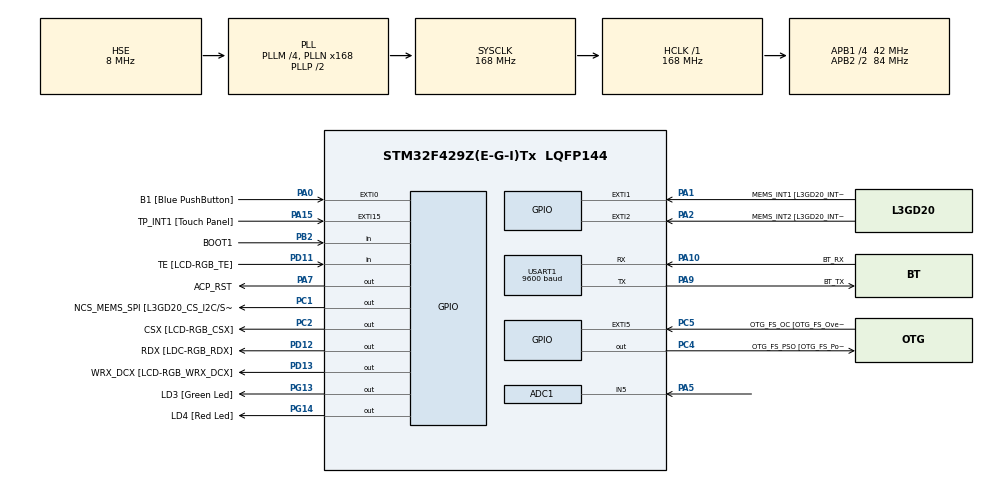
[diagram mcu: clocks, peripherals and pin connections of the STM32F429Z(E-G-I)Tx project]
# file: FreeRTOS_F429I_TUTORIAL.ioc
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ADC1.Channel-0\#ChannelRegularConversion=ADC_CHANNEL_5
ADC1.ClockPrescaler=ADC_CLOCK_SYNC_PCLK_DIV8
ADC1.NbrOfConversionFlag=1
ADC1.Rank-0\#ChannelRegularConversion=1
ADC1.SamplingTime-0\#ChannelRegularConversion=ADC_SAMPLETIME_3CYCLES
ADC1.master=1
FREERTOS.BinarySemaphores01=commTxSemaphore,Dynamic,NULL
FREERTOS.Tasks01=defaultTask,0,128,StartDefaultTask,Default,NULL,Dynamic,NULL,NULL
FREERTOS.configMAX_TASK_NAME_LEN=32
Mcu.Family=STM32F4
Mcu.Name=STM32F429Z(E-G-I)Tx
Mcu.Package=LQFP144
NVIC.ADC_IRQn=true\:5\:0\:false\:false\:true\:true
NVIC.PriorityGroup=NVIC_PRIORITYGROUP_4
NVIC.TIM7_IRQn=true\:0\:0\:false\:false\:true\:false
NVIC.TimeBase=TIM7_IRQn
NVIC.TimeBaseIP=TIM7
NVIC.USART1_IRQn=true\:5\:0\:false\:false\:true\:true
PA0/WKUP.GPIO_Label=B1 [Blue PushButton]
PA0/WKUP.GPIO_ModeDefaultEXTI=GPIO_MODE_EVT_RISING
PA0/WKUP.GPIO_PuPd=GPIO_NOPULL
PA0/WKUP.Signal=GPXTI0
PA1.GPIO_Label=MEMS_INT1 [L3GD20_INT1]
PA1.GPIO_ModeDefaultEXTI=GPIO_MODE_EVT_RISING
PA1.GPIO_PuPd=GPIO_NOPULL
PA1.Signal=GPXTI1
PA10.GPIO_Label=BT_RX
PA10.Mode=Asynchronous
PA10.Signal=USART1_RX
PA11.GPIO_Label=R4
PA11.GPIO_Mode=GPIO_MODE_AF_PP
PA11.GPIO_PuPd=GPIO_NOPULL
PA11.GPIO_Speed=GPIO_SPEED_FREQ_LOW
PA11.Signal=LTDC_R4
PA12.GPIO_Label=R5
PA12.GPIO_Mode=GPIO_MODE_AF_PP
PA12.GPIO_PuPd=GPIO_NOPULL
PA12.GPIO_Speed=GPIO_SPEED_FREQ_LOW
PA12.Signal=LTDC_R5
PA13.GPIO_Label=SWDIO
PA13.Signal=SYS_JTMS-SWDIO
PA14.GPIO_Label=SWCLK
PA14.Signal=SYS_JTCK-SWCLK
PA15.GPIO_Label=TP_INT1 [Touch Panel]
PA15.GPIO_ModeDefaultEXTI=GPIO_MODE_EVT_RISING
PA15.GPIO_PuPd=GPIO_NOPULL
PA15.Signal=GPXTI15
PA2.GPIO_Label=MEMS_INT2 [L3GD20_INT2]
PA2.GPIO_ModeDefaultEXTI=GPIO_MODE_EVT_RISING
PA2.GPIO_PuPd=GPIO_NOPULL
PA2.Signal=GPXTI2
PA3.GPIO_Label=B5
PA3.GPIO_Mode=GPIO_MODE_AF_PP
PA3.GPIO_PuPd=GPIO_NOPULL
PA3.GPIO_Speed=GPIO_SPEED_FREQ_LOW
PA3.Signal=LTDC_B5
PA4.GPIO_Label=VSYNC
PA4.GPIO_Mode=GPIO_MODE_AF_PP
PA4.GPIO_PuPd=GPIO_NOPULL
PA4.GPIO_Speed=GPIO_SPEED_FREQ_LOW
PA4.Signal=LTDC_VSYNC
PA5.Signal=ADCx_IN5
PA6.GPIO_Label=G2
PA6.GPIO_Mode=GPIO_MODE_AF_PP
PA6.GPIO_PuPd=GPIO_NOPULL
PA6.GPIO_Speed=GPIO_SPEED_FREQ_LOW
PA6.Signal=LTDC_G2
PA7.GPIO_Label=ACP_RST
PA7.GPIO_Mode=GPIO_MODE_OUTPUT_PP
PA7.GPIO_PuPd=GPIO_NOPULL
PA7.GPIO_Speed=GPIO_SPEED_FREQ_LOW
PA7.Signal=GPIO_Output
PA8.GPIO_Label=I2C3_SCL [ACP/RF_SCL]
PA8.GPIO_Mode=GPIO_MODE_AF_OD
PA8.GPIO_PuPd=GPIO_NOPULL
PA8.GPIO_Speed=GPIO_SPEED_FREQ_LOW
PA8.Signal=I2C3_SCL
PA9.GPIO_Label=BT_TX
PA9.Mode=Asynchronous
PA9.Signal=USART1_TX
PB0.GPIO_Label=R3
PB0.GPIO_Mode=GPIO_MODE_AF_PP
PB0.GPIO_PuPd=GPIO_NOPULL
PB0.GPIO_Speed=GPIO_SPEED_FREQ_LOW
PB0.Signal=LTDC_R3
PB1.GPIO_Label=R6
PB1.GPIO_Mode=GPIO_MODE_AF_PP
PB1.GPIO_PuPd=GPIO_NOPULL
PB1.GPIO_Speed=GPIO_SPEED_FREQ_LOW
PB1.Signal=LTDC_R6
PB10.GPIO_Label=G4
PB10.GPIO_Mode=GPIO_MODE_AF_PP
PB10.GPIO_PuPd=GPIO_NOPULL
PB10.GPIO_Speed=GPIO_SPEED_FREQ_LOW
PB10.Signal=LTDC_G4
PB11.GPIO_Label=G5
PB11.GPIO_Mode=GPIO_MODE_AF_PP
PB11.GPIO_PuPd=GPIO_NOPULL
PB11.GPIO_Speed=GPIO_SPEED_FREQ_LOW
PB11.Signal=LTDC_G5
PB12.GPIO_Label=OTG_FS_ID
PB12.GPIO_Mode=GPIO_MODE_AF_PP
PB12.GPIO_PuPd=GPIO_NOPULL
PB12.GPIO_Speed=GPIO_SPEED_FREQ_LOW
PB12.Signal=USB_OTG_HS_ID
PB13.GPIO_Label=VBUS_FS
PB13.GPIO_Mode=GPIO_MODE_INPUT
PB13.GPIO_PuPd=GPIO_NOPULL
PB13.Signal=USB_OTG_HS_VBUS
PB14.GPIO_Label=OTG_FS_DM
PB14.GPIO_Mode=GPIO_MODE_AF_PP
PB14.GPIO_PuPd=GPIO_NOPULL
PB14.GPIO_Speed=GPIO_SPEED_FREQ_LOW
PB14.Signal=USB_OTG_HS_DM
PB15.GPIO_Label=OTG_FS_DP
PB15.GPIO_Mode=GPIO_MODE_AF_PP
PB15.GPIO_PuPd=GPIO_NOPULL
PB15.GPIO_Speed=GPIO_SPEED_FREQ_LOW
PB15.Signal=USB_OTG_HS_DP
PB2/BOOT1.GPIO_Label=BOOT1
PB2/BOOT1.GPIO_Mode=GPIO_MODE_INPUT
PB2/BOOT1.GPIO_PuPd=GPIO_NOPULL
PB2/BOOT1.Signal=GPIO_Input
PB5.GPIO_Label=SDCKE1
PB5.GPIO_Mode=GPIO_MODE_AF_PP
PB5.GPIO_PuPd=GPIO_NOPULL
PB5.GPIO_Speed=GPIO_SPEED_FREQ_VERY_HIGH
PB5.Signal=FMC_SDCKE1
PB6.GPIO_Label=SDNE1 [SDRAM_CS]
PB6.GPIO_Mode=GPIO_MODE_AF_PP
PB6.GPIO_PuPd=GPIO_NOPULL
PB6.GPIO_Speed=GPIO_SPEED_FREQ_VERY_HIGH
PB6.Signal=FMC_SDNE1
PB8.GPIO_Label=B6
PB8.GPIO_Mode=GPIO_MODE_AF_PP
PB8.GPIO_PuPd=GPIO_NOPULL
PB8.GPIO_Speed=GPIO_SPEED_FREQ_LOW
PB8.Signal=LTDC_B6
PB9.GPIO_Label=B7
PB9.GPIO_Mode=GPIO_MODE_AF_PP
PB9.GPIO_PuPd=GPIO_NOPULL
PB9.GPIO_Speed=GPIO_SPEED_FREQ_LOW
PB9.Signal=LTDC_B7
PC0.GPIO_Label=SDNWE
PC0.GPIO_Mode=GPIO_MODE_AF_PP
PC0.GPIO_PuPd=GPIO_NOPULL
PC0.GPIO_Speed=GPIO_SPEED_FREQ_VERY_HIGH
PC0.Signal=FMC_SDNWE
PC1.GPIO_Label=NCS_MEMS_SPI [L3GD20_CS_I2C/SPI]
PC1.GPIO_Mode=GPIO_MODE_OUTPUT_PP
PC1.GPIO_PuPd=GPIO_NOPULL
PC1.GPIO_Speed=GPIO_SPEED_FREQ_LOW
PC1.Signal=GPIO_Output
PC10.GPIO_Label=R2
PC10.GPIO_Mode=GPIO_MODE_AF_PP
PC10.GPIO_PuPd=GPIO_NOPULL
PC10.GPIO_Speed=GPIO_SPEED_FREQ_LOW
PC10.Signal=LTDC_R2
PC14/OSC32_IN.GPIO_Label=PC14-OSC32_IN
PC14/OSC32_IN.Signal=RCC_OSC32_IN
PC15/OSC32_OUT.GPIO_Label=PC15-OSC32_OUT
PC15/OSC32_OUT.Signal=RCC_OSC32_OUT
PC2.GPIO_Label=CSX [LCD-RGB_CSX]
PC2.GPIO_Mode=GPIO_MODE_OUTPUT_PP
PC2.GPIO_PuPd=GPIO_NOPULL
PC2.GPIO_Speed=GPIO_SPEED_FREQ_LOW
PC2.Signal=GPIO_Output
PC4.GPIO_Label=OTG_FS_PSO [OTG_FS_PowerSwitchOn]
PC4.GPIO_Mode=GPIO_MODE_OUTPUT_PP
PC4.GPIO_PuPd=GPIO_NOPULL
PC4.GPIO_Speed=GPIO_SPEED_FREQ_LOW
PC4.Signal=GPIO_Output
PC5.GPIO_Label=OTG_FS_OC [OTG_FS_OverCurrent]
PC5.GPIO_ModeDefaultEXTI=GPIO_MODE_EVT_RISING
PC5.Signal=GPXTI5
PC6.GPIO_Label=HSYNC
PC6.GPIO_Mode=GPIO_MODE_AF_PP
PC6.GPIO_PuPd=GPIO_NOPULL
PC6.GPIO_Speed=GPIO_SPEED_FREQ_LOW
PC6.Signal=LTDC_HSYNC
PC7.GPIO_Label=G6
PC7.GPIO_Mode=GPIO_MODE_AF_PP
PC7.GPIO_PuPd=GPIO_NOPULL
PC7.GPIO_Speed=GPIO_SPEED_FREQ_LOW
PC7.Signal=LTDC_G6
PC9.GPIO_Label=I2C3_SDA [ACP/RF_SDA]
PC9.GPIO_Mode=GPIO_MODE_AF_OD
PC9.GPIO_PuPd=GPIO_NOPULL
PC9.GPIO_Speed=GPIO_SPEED_FREQ_LOW
PC9.Signal=I2C3_SDA
PD0.GPIO_Label=D2
PD0.GPIO_Mode=GPIO_MODE_AF_PP
PD0.GPIO_PuPd=GPIO_NOPULL
PD0.GPIO_Speed=GPIO_SPEED_FREQ_VERY_HIGH
PD0.Signal=FMC_D2_DA2
PD1.GPIO_Label=D3
PD1.GPIO_Mode=GPIO_MODE_AF_PP
PD1.GPIO_PuPd=GPIO_NOPULL
PD1.GPIO_Speed=GPIO_SPEED_FREQ_VERY_HIGH
PD1.Signal=FMC_D3_DA3
PD10.GPIO_Label=D15
PD10.GPIO_Mode=GPIO_MODE_AF_PP
PD10.GPIO_PuPd=GPIO_NOPULL
PD10.GPIO_Speed=GPIO_SPEED_FREQ_VERY_HIGH
PD10.Signal=FMC_D15_DA15
PD11.GPIO_Label=TE [LCD-RGB_TE]
PD11.GPIO_Mode=GPIO_MODE_INPUT
PD11.GPIO_PuPd=GPIO_NOPULL
PD11.Signal=GPIO_Input
PD12.GPIO_Label=RDX [LDC-RGB_RDX]
PD12.GPIO_Mode=GPIO_MODE_OUTPUT_PP
PD12.GPIO_PuPd=GPIO_NOPULL
PD12.GPIO_Speed=GPIO_SPEED_FREQ_LOW
PD12.Signal=GPIO_Output
PD13.GPIO_Label=WRX_DCX [LCD-RGB_WRX_DCX]
PD13.GPIO_Mode=GPIO_MODE_OUTPUT_PP
PD13.GPIO_PuPd=GPIO_NOPULL
PD13.GPIO_Speed=GPIO_SPEED_FREQ_LOW
PD13.Signal=GPIO_Output
PD14.GPIO_Label=D0
PD14.GPIO_Mode=GPIO_MODE_AF_PP
PD14.GPIO_PuPd=GPIO_NOPULL
PD14.GPIO_Speed=GPIO_SPEED_FREQ_VERY_HIGH
PD14.Signal=FMC_D0_DA0
PD15.GPIO_Label=D1
PD15.GPIO_Mode=GPIO_MODE_AF_PP
PD15.GPIO_PuPd=GPIO_NOPULL
PD15.GPIO_Speed=GPIO_SPEED_FREQ_VERY_HIGH
PD15.Signal=FMC_D1_DA1
PD3.GPIO_Label=G7
PD3.GPIO_Mode=GPIO_MODE_AF_PP
PD3.GPIO_PuPd=GPIO_NOPULL
PD3.GPIO_Speed=GPIO_SPEED_FREQ_LOW
PD3.Signal=LTDC_G7
PD6.GPIO_Label=B2
PD6.GPIO_Mode=GPIO_MODE_AF_PP
PD6.GPIO_PuPd=GPIO_NOPULL
PD6.GPIO_Speed=GPIO_SPEED_FREQ_LOW
PD6.Signal=LTDC_B2
PD8.GPIO_Label=D13
PD8.GPIO_Mode=GPIO_MODE_AF_PP
PD8.GPIO_PuPd=GPIO_NOPULL
PD8.GPIO_Speed=GPIO_SPEED_FREQ_VERY_HIGH
PD8.Signal=FMC_D13_DA13
PD9.GPIO_Label=D14
PD9.GPIO_Mode=GPIO_MODE_AF_PP
PD9.GPIO_PuPd=GPIO_NOPULL
PD9.GPIO_Speed=GPIO_SPEED_FREQ_VERY_HIGH
PD9.Signal=FMC_D14_DA14
PE0.GPIO_Label=NBL0 [SDRAM_LDQM]
PE0.GPIO_Mode=GPIO_MODE_AF_PP
PE0.GPIO_PuPd=GPIO_NOPULL
PE0.GPIO_Speed=GPIO_SPEED_FREQ_VERY_HIGH
PE0.Signal=FMC_NBL0
PE1.GPIO_Label=NBL1 [SDRAM_UDQM]
PE1.GPIO_Mode=GPIO_MODE_AF_PP
PE1.GPIO_PuPd=GPIO_NOPULL
PE1.GPIO_Speed=GPIO_SPEED_FREQ_VERY_HIGH
PE1.Signal=FMC_NBL1
PE10.GPIO_Label=D7
PE10.GPIO_Mode=GPIO_MODE_AF_PP
PE10.GPIO_PuPd=GPIO_NOPULL
PE10.GPIO_Speed=GPIO_SPEED_FREQ_VERY_HIGH
PE10.Signal=FMC_D7_DA7
PE11.GPIO_Label=D8
PE11.GPIO_Mode=GPIO_MODE_AF_PP
PE11.GPIO_PuPd=GPIO_NOPULL
PE11.GPIO_Speed=GPIO_SPEED_FREQ_VERY_HIGH
PE11.Signal=FMC_D8_DA8
PE12.GPIO_Label=D9
PE12.GPIO_Mode=GPIO_MODE_AF_PP
PE12.GPIO_PuPd=GPIO_NOPULL
PE12.GPIO_Speed=GPIO_SPEED_FREQ_VERY_HIGH
PE12.Signal=FMC_D9_DA9
PE13.GPIO_Label=D10
PE13.GPIO_Mode=GPIO_MODE_AF_PP
PE13.GPIO_PuPd=GPIO_NOPULL
PE13.GPIO_Speed=GPIO_SPEED_FREQ_VERY_HIGH
PE13.Signal=FMC_D10_DA10
PE14.GPIO_Label=D11
PE14.GPIO_Mode=GPIO_MODE_AF_PP
PE14.GPIO_PuPd=GPIO_NOPULL
PE14.GPIO_Speed=GPIO_SPEED_FREQ_VERY_HIGH
PE14.Signal=FMC_D11_DA11
PE15.GPIO_Label=D12
PE15.GPIO_Mode=GPIO_MODE_AF_PP
PE15.GPIO_PuPd=GPIO_NOPULL
PE15.GPIO_Speed=GPIO_SPEED_FREQ_VERY_HIGH
PE15.Signal=FMC_D12_DA12
PE7.GPIO_Label=D4
PE7.GPIO_Mode=GPIO_MODE_AF_PP
PE7.GPIO_PuPd=GPIO_NOPULL
PE7.GPIO_Speed=GPIO_SPEED_FREQ_VERY_HIGH
PE7.Signal=FMC_D4_DA4
PE8.GPIO_Label=D5
PE8.GPIO_Mode=GPIO_MODE_AF_PP
PE8.GPIO_PuPd=GPIO_NOPULL
PE8.GPIO_Speed=GPIO_SPEED_FREQ_VERY_HIGH
PE8.Signal=FMC_D5_DA5
PE9.GPIO_Label=D6
PE9.GPIO_Mode=GPIO_MODE_AF_PP
PE9.GPIO_PuPd=GPIO_NOPULL
PE9.GPIO_Speed=GPIO_SPEED_FREQ_VERY_HIGH
PE9.Signal=FMC_D6_DA6
PF0.GPIO_Label=A0
PF0.GPIO_Mode=GPIO_MODE_AF_PP
PF0.GPIO_PuPd=GPIO_NOPULL
PF0.GPIO_Speed=GPIO_SPEED_FREQ_VERY_HIGH
PF0.Signal=FMC_A0
PF1.GPIO_Label=A1
PF1.GPIO_Mode=GPIO_MODE_AF_PP
PF1.GPIO_PuPd=GPIO_NOPULL
PF1.GPIO_Speed=GPIO_SPEED_FREQ_VERY_HIGH
PF1.Signal=FMC_A1
PF10.GPIO_Label=ENABLE [LCD-RGB_ENABLE]
PF10.GPIO_Mode=GPIO_MODE_AF_PP
PF10.GPIO_PuPd=GPIO_NOPULL
PF10.GPIO_Speed=GPIO_SPEED_FREQ_LOW
PF10.Signal=LTDC_DE
PF11.GPIO_Label=SDNRAS
PF11.GPIO_Mode=GPIO_MODE_AF_PP
PF11.GPIO_PuPd=GPIO_NOPULL
PF11.GPIO_Speed=GPIO_SPEED_FREQ_VERY_HIGH
PF11.Signal=FMC_SDNRAS
PF12.GPIO_Label=A6
PF12.GPIO_Mode=GPIO_MODE_AF_PP
PF12.GPIO_PuPd=GPIO_NOPULL
PF12.GPIO_Speed=GPIO_SPEED_FREQ_VERY_HIGH
PF12.Signal=FMC_A6
PF13.GPIO_Label=A7
PF13.GPIO_Mode=GPIO_MODE_AF_PP
PF13.GPIO_PuPd=GPIO_NOPULL
PF13.GPIO_Speed=GPIO_SPEED_FREQ_VERY_HIGH
PF13.Signal=FMC_A7
PF14.GPIO_Label=A8
PF14.GPIO_Mode=GPIO_MODE_AF_PP
PF14.GPIO_PuPd=GPIO_NOPULL
PF14.GPIO_Speed=GPIO_SPEED_FREQ_VERY_HIGH
PF14.Signal=FMC_A8
PF15.GPIO_Label=A9
PF15.GPIO_Mode=GPIO_MODE_AF_PP
PF15.GPIO_PuPd=GPIO_NOPULL
PF15.GPIO_Speed=GPIO_SPEED_FREQ_VERY_HIGH
PF15.Signal=FMC_A9
PF2.GPIO_Label=A2
PF2.GPIO_Mode=GPIO_MODE_AF_PP
PF2.GPIO_PuPd=GPIO_NOPULL
PF2.GPIO_Speed=GPIO_SPEED_FREQ_VERY_HIGH
PF2.Signal=FMC_A2
PF3.GPIO_Label=A3
PF3.GPIO_Mode=GPIO_MODE_AF_PP
PF3.GPIO_PuPd=GPIO_NOPULL
PF3.GPIO_Speed=GPIO_SPEED_FREQ_VERY_HIGH
PF3.Signal=FMC_A3
PF4.GPIO_Label=A4
PF4.GPIO_Mode=GPIO_MODE_AF_PP
PF4.GPIO_PuPd=GPIO_NOPULL
PF4.GPIO_Speed=GPIO_SPEED_FREQ_VERY_HIGH
PF4.Signal=FMC_A4
PF5.GPIO_Label=A5
PF5.GPIO_Mode=GPIO_MODE_AF_PP
PF5.GPIO_PuPd=GPIO_NOPULL
PF5.GPIO_Speed=GPIO_SPEED_FREQ_VERY_HIGH
PF5.Signal=FMC_A5
PF7.GPIO_Label=SPI5_SCK [L3GD20_SCL/SPC]
PF7.GPIO_Mode=GPIO_MODE_AF_PP
PF7.GPIO_PuPd=GPIO_NOPULL
PF7.GPIO_Speed=GPIO_SPEED_FREQ_LOW
PF7.Signal=SPI5_SCK
PF8.GPIO_Label=SPI5_MISO [L3GD20_SDO]
PF8.GPIO_Mode=GPIO_MODE_AF_PP
PF8.GPIO_PuPd=GPIO_NOPULL
PF8.GPIO_Speed=GPIO_SPEED_FREQ_LOW
PF8.Signal=SPI5_MISO
PF9.GPIO_Label=SPI5_MOSI [L3GD20_SDA/SDI/SDO]
PF9.GPIO_Mode=GPIO_MODE_AF_PP
PF9.GPIO_PuPd=GPIO_NOPULL
PF9.GPIO_Speed=GPIO_SPEED_FREQ_LOW
PF9.Signal=SPI5_MOSI
PG0.GPIO_Label=A10
PG0.GPIO_Mode=GPIO_MODE_AF_PP
PG0.GPIO_PuPd=GPIO_NOPULL
PG0.GPIO_Speed=GPIO_SPEED_FREQ_VERY_HIGH
PG0.Signal=FMC_A10
PG1.GPIO_Label=A11
PG1.GPIO_Mode=GPIO_MODE_AF_PP
PG1.GPIO_PuPd=GPIO_NOPULL
PG1.GPIO_Speed=GPIO_SPEED_FREQ_VERY_HIGH
PG1.Signal=FMC_A11
PG10.GPIO_Label=G3
PG10.GPIO_Mode=GPIO_MODE_AF_PP
PG10.GPIO_PuPd=GPIO_NOPULL
PG10.GPIO_Speed=GPIO_SPEED_FREQ_LOW
PG10.Signal=LTDC_G3
PG11.GPIO_Label=B3
PG11.GPIO_Mode=GPIO_MODE_AF_PP
PG11.GPIO_PuPd=GPIO_NOPULL
PG11.GPIO_Speed=GPIO_SPEED_FREQ_LOW
PG11.Signal=LTDC_B3
PG12.GPIO_Label=B4
PG12.GPIO_Mode=GPIO_MODE_AF_PP
PG12.GPIO_PuPd=GPIO_NOPULL
PG12.GPIO_Speed=GPIO_SPEED_FREQ_LOW
PG12.Signal=LTDC_B4
PG13.GPIO_Label=LD3 [Green Led]
PG13.GPIO_Mode=GPIO_MODE_OUTPUT_PP
PG13.GPIO_PuPd=GPIO_NOPULL
PG13.GPIO_Speed=GPIO_SPEED_FREQ_LOW
PG13.Signal=GPIO_Output
PG14.GPIO_Label=LD4 [Red Led]
PG14.GPIO_Mode=GPIO_MODE_OUTPUT_PP
PG14.GPIO_PuPd=GPIO_NOPULL
PG14.GPIO_Speed=GPIO_SPEED_FREQ_LOW
PG14.Signal=GPIO_Output
PG15.GPIO_Label=SDNCAS
PG15.GPIO_Mode=GPIO_MODE_AF_PP
PG15.GPIO_PuPd=GPIO_NOPULL
PG15.GPIO_Speed=GPIO_SPEED_FREQ_VERY_HIGH
PG15.Signal=FMC_SDNCAS
PG4.GPIO_Label=BA0
PG4.GPIO_Mode=GPIO_MODE_AF_PP
PG4.GPIO_PuPd=GPIO_NOPULL
PG4.GPIO_Speed=GPIO_SPEED_FREQ_VERY_HIGH
PG4.Signal=FMC_A14_BA0
PG5.GPIO_Label=BA1
PG5.GPIO_Mode=GPIO_MODE_AF_PP
PG5.GPIO_PuPd=GPIO_NOPULL
PG5.GPIO_Speed=GPIO_SPEED_FREQ_VERY_HIGH
PG5.Signal=FMC_A15_BA1
PG6.GPIO_Label=R7
PG6.GPIO_Mode=GPIO_MODE_AF_PP
PG6.GPIO_PuPd=GPIO_NOPULL
PG6.GPIO_Speed=GPIO_SPEED_FREQ_LOW
PG6.Signal=LTDC_R7
PG7.GPIO_Label=DOTCLK [LCT-RGB_DOTCLK]
PG7.GPIO_Mode=GPIO_MODE_AF_PP
PG7.GPIO_PuPd=GPIO_NOPULL
PG7.GPIO_Speed=GPIO_SPEED_FREQ_LOW
PG7.Signal=LTDC_CLK
PG8.GPIO_Label=SDCLK
PG8.GPIO_Mode=GPIO_MODE_AF_PP
PG8.GPIO_PuPd=GPIO_NOPULL
PG8.GPIO_Speed=GPIO_SPEED_FREQ_VERY_HIGH
PG8.Signal=FMC_SDCLK
PH0/OSC_IN.GPIO_Label=PH0-OSC_IN
PH0/OSC_IN.Mode=HSE-External-Oscillator
PH0/OSC_IN.Signal=RCC_OSC_IN
PH1/OSC_OUT.GPIO_Label=PH1-OSC_OUT
PH1/OSC_OUT.Mode=HSE-External-Oscillator
PH1/OSC_OUT.Signal=RCC_OSC_OUT
ProjectManager.HeapSize=0x200
ProjectManager.StackSize=0x400
ProjectManager.TargetToolchain=SW4STM32
RCC.48MHZClocksFreq_Value=48000000
RCC.AHBFreq_Value=168000000
RCC.APB1CLKDivider=RCC_HCLK_DIV4
RCC.APB1Freq_Value=42000000
RCC.APB1TimFreq_Value=84000000
RCC.APB2CLKDivider=RCC_HCLK_DIV2
RCC.APB2Freq_Value=84000000
RCC.APB2TimFreq_Value=168000000
RCC.CortexFreq_Value=168000000
RCC.EnbaleCSS=true
RCC.HCLKFreq_Value=168000000
RCC.HSE_VALUE=8000000
RCC.HSI_VALUE=16000000
RCC.LSE_VALUE=32768
RCC.PLLM=4
RCC.PLLN=168
RCC.PLLQ=7
RCC.PLLSourceVirtual=RCC_PLLSOURCE_HSE
RCC.SYSCLKFreq_VALUE=168000000
RCC.SYSCLKSource=RCC_SYSCLKSOURCE_PLLCLK
RCC.VCOOutputFreq_Value=336000000
SH.ADCx_IN5.0=ADC1_IN5,IN5
SH.FMC_A0.0=FMC_A0
SH.FMC_A1.0=FMC_A1
SH.FMC_A10.0=FMC_A10
SH.FMC_A11.0=FMC_A11
SH.FMC_A14_BA0.0=FMC_BA0
SH.FMC_A15_BA1.0=FMC_BA1
SH.FMC_A2.0=FMC_A2
SH.FMC_A3.0=FMC_A3
SH.FMC_A4.0=FMC_A4
SH.FMC_A5.0=FMC_A5
SH.FMC_A6.0=FMC_A6
SH.FMC_A7.0=FMC_A7
SH.FMC_A8.0=FMC_A8
SH.FMC_A9.0=FMC_A9
SH.FMC_D0_DA0.0=FMC_D0
SH.FMC_D10_DA10.0=FMC_D10
SH.FMC_D11_DA11.0=FMC_D11
SH.FMC_D12_DA12.0=FMC_D12
SH.FMC_D13_DA13.0=FMC_D13
SH.FMC_D14_DA14.0=FMC_D14
SH.FMC_D15_DA15.0=FMC_D15
SH.FMC_D1_DA1.0=FMC_D1
SH.FMC_D2_DA2.0=FMC_D2
SH.FMC_D3_DA3.0=FMC_D3
SH.FMC_D4_DA4.0=FMC_D4
SH.FMC_D5_DA5.0=FMC_D5
SH.FMC_D6_DA6.0=FMC_D6
SH.FMC_D7_DA7.0=FMC_D7
SH.FMC_D8_DA8.0=FMC_D8
SH.FMC_D9_DA9.0=FMC_D9
SH.FMC_NBL0.0=FMC_NBL0
SH.FMC_NBL1.0=FMC_NBL1
SH.FMC_SDCLK.0=FMC_SDCLK
SH.FMC_SDNCAS.0=FMC_SDNCAS
SH.FMC_SDNRAS.0=FMC_SDNRAS
SH.FMC_SDNWE.0=FMC_SDNWE
USART1.BaudRate=9600
USART1.VirtualMode=VM_ASYNC
VP_FREERTOS_VS_ENABLE.Mode=Enabled
VP_SYS_VS_tim7.Mode=TIM7
board=STM32F429I-DISCO

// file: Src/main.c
/**
  ******************************************************************************
  * File Name          : main.c
  * Description        : Main program body
  ******************************************************************************
  * This notice applies to any and all portions of this file
  * that are not between comment pairs USER CODE BEGIN and
  * USER CODE END. Other portions of this file, whether
  * inserted by the user or by software development tools
  * are owned by their respective copyright owners.
  *
  * Copyright (c) 2017 STMicroelectronics International N.V.
  * All rights reserved.
  *
  * Redistribution and use in source and binary forms, with or without
  * modification, are permitted, provided that the following conditions are met:
  *
  * 1. Redistribution of source code must retain the above copyright notice,
  *    this list of conditions and the following disclaimer.
  * 2. Redistributions in binary form must reproduce the above copyright notice,
  *    this list of conditions and the following disclaimer in the documentation
  *    and/or other materials provided with the distribution.
  * 3. Neither the name of STMicroelectronics nor the names of other
  *    contributors to this software may be used to endorse or promote products
  *    derived from this software without specific written permission.
  * 4. This software, including modifications and/or derivative works of this
  *    software, must execute solely and exclusively on microcontroller or
  *    microprocessor devices manufactured by or for STMicroelectronics.
  * 5. Redistribution and use of this software other than as permitted under
  *    this license is void and will automatically terminate your rights under
  *    this license.
  *
  * THIS SOFTWARE IS PROVIDED BY STMICROELECTRONICS AND CONTRIBUTORS "AS IS"
  * AND ANY EXPRESS, IMPLIED OR STATUTORY WARRANTIES, INCLUDING, BUT NOT
  * LIMITED TO, THE IMPLIED WARRANTIES OF MERCHANTABILITY, FITNESS FOR A
  * PARTICULAR PURPOSE AND NON-INFRINGEMENT OF THIRD PARTY INTELLECTUAL PROPERTY
  * RIGHTS ARE DISCLAIMED TO THE FULLEST EXTENT PERMITTED BY LAW. IN NO EVENT
  * SHALL STMICROELECTRONICS OR CONTRIBUTORS BE LIABLE FOR ANY DIRECT, INDIRECT,
  * INCIDENTAL, SPECIAL, EXEMPLARY, OR CONSEQUENTIAL DAMAGES (INCLUDING, BUT NOT
  * LIMITED TO, PROCUREMENT OF SUBSTITUTE GOODS OR SERVICES; LOSS OF USE, DATA,
  * OR PROFITS; OR BUSINESS INTERRUPTION) HOWEVER CAUSED AND ON ANY THEORY OF
  * LIABILITY, WHETHER IN CONTRACT, STRICT LIABILITY, OR TORT (INCLUDING
  * NEGLIGENCE OR OTHERWISE) ARISING IN ANY WAY OUT OF THE USE OF THIS SOFTWARE,
  * EVEN IF ADVISED OF THE POSSIBILITY OF SUCH DAMAGE.
  *
  ******************************************************************************
  */
#include "main.h"
#include "stm32f4xx_hal.h"
#include "cmsis_os.h"
#include "adc.h"
#include "usart.h"
#include "gpio.h"

/* USER CODE BEGIN Includes */
#include "hc05.h"
#include "cmd_protocol.h"
/* USER CODE END Includes */

/* USER CODE BEGIN PV */
/* Private variables ---------------------------------------------------------*/

/* USER CODE END PV */

void SystemClock_Config(void);
void MX_FREERTOS_Init(void);

/* USER CODE BEGIN PFP */
/* Private function prototypes -----------------------------------------------*/

/* USER CODE END PFP */

int main(void)
{

  /* USER CODE BEGIN 1 */

	//A a;
  /* USER CODE END 1 */

  /* MCU Configuration----------------------------------------------------------*/

  /* Reset of all peripherals, Initializes the Flash interface and the Systick. */
  HAL_Init();

  /* Configure the system clock */
  SystemClock_Config();

  /* Initialize all configured peripherals */
  MX_GPIO_Init();
  MX_USART1_UART_Init();
  MX_ADC1_Init();

  /* USER CODE BEGIN 2 */

  BT_Init(&huart1,NULL,0);

  /* USER CODE END 2 */

  /* Call init function for freertos objects (in freertos.c) */
  MX_FREERTOS_Init();

  /* Start scheduler */
  osKernelStart();

  /* We should never get here as control is now taken by the scheduler */

  /* Infinite loop */
  while (1)
  {

  /* USER CODE BEGIN 3 */

  }
  return 0;
  /* USER CODE END 3 */

}

/** System Clock Configuration
*/
void SystemClock_Config(void)
{

  RCC_OscInitTypeDef RCC_OscInitStruct;
  RCC_ClkInitTypeDef RCC_ClkInitStruct;

    /**Configure the main internal regulator output voltage
    */
  __HAL_RCC_PWR_CLK_ENABLE();

  __HAL_PWR_VOLTAGESCALING_CONFIG(PWR_REGULATOR_VOLTAGE_SCALE1);

    /**Initializes the CPU, AHB and APB busses clocks
    */
  RCC_OscInitStruct.OscillatorType = RCC_OSCILLATORTYPE_HSE;
  RCC_OscInitStruct.HSEState = RCC_HSE_ON;
  RCC_OscInitStruct.PLL.PLLState = RCC_PLL_ON;
  RCC_OscInitStruct.PLL.PLLSource = RCC_PLLSOURCE_HSE;
  RCC_OscInitStruct.PLL.PLLM = 4;
  RCC_OscInitStruct.PLL.PLLN = 168;
  RCC_OscInitStruct.PLL.PLLP = RCC_PLLP_DIV2;
  RCC_OscInitStruct.PLL.PLLQ = 7;
  if (HAL_RCC_OscConfig(&RCC_OscInitStruct) != HAL_OK)
  {
    _Error_Handler(__FILE__, __LINE__);
  }

    /**Initializes the CPU, AHB and APB busses clocks
    */
  RCC_ClkInitStruct.ClockType = RCC_CLOCKTYPE_HCLK|RCC_CLOCKTYPE_SYSCLK
                              |RCC_CLOCKTYPE_PCLK1|RCC_CLOCKTYPE_PCLK2;
  RCC_ClkInitStruct.SYSCLKSource = RCC_SYSCLKSOURCE_PLLCLK;
  RCC_ClkInitStruct.AHBCLKDivider = RCC_SYSCLK_DIV1;
  RCC_ClkInitStruct.APB1CLKDivider = RCC_HCLK_DIV4;
  RCC_ClkInitStruct.APB2CLKDivider = RCC_HCLK_DIV2;

  if (HAL_RCC_ClockConfig(&RCC_ClkInitStruct, FLASH_LATENCY_5) != HAL_OK)
  {
    _Error_Handler(__FILE__, __LINE__);
  }

    /**Enables the Clock Security System
    */
  HAL_RCC_EnableCSS();

    /**Configure the Systick interrupt time
    */
  HAL_SYSTICK_Config(HAL_RCC_GetHCLKFreq()/1000);

    /**Configure the Systick
    */
  HAL_SYSTICK_CLKSourceConfig(SYSTICK_CLKSOURCE_HCLK);

  /* SysTick_IRQn interrupt configuration */
  HAL_NVIC_SetPriority(SysTick_IRQn, 15, 0);
}

void HAL_TIM_PeriodElapsedCallback(TIM_HandleTypeDef *htim)
{
  if (htim->Instance == TIM7) {
    HAL_IncTick();
  }
}

void _Error_Handler(char * file, int line)
{
  while(1)
  {
  }
}

/************************ (C) COPYRIGHT STMicroelectronics *****END OF FILE****/

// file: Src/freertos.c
/**
  ******************************************************************************
  * File Name          : freertos.c
  * Description        : Code for freertos applications
  ******************************************************************************
  * This notice applies to any and all portions of this file
  * that are not between comment pairs USER CODE BEGIN and
  * USER CODE END. Other portions of this file, whether
  * inserted by the user or by software development tools
  * are owned by their respective copyright owners.
  *
  * Copyright (c) 2017 STMicroelectronics International N.V.
  * All rights reserved.
  *
  * Redistribution and use in source and binary forms, with or without
  * modification, are permitted, provided that the following conditions are met:
  *
  * 1. Redistribution of source code must retain the above copyright notice,
  *    this list of conditions and the following disclaimer.
  * 2. Redistributions in binary form must reproduce the above copyright notice,
  *    this list of conditions and the following disclaimer in the documentation
  *    and/or other materials provided with the distribution.
  * 3. Neither the name of STMicroelectronics nor the names of other
  *    contributors to this software may be used to endorse or promote products
  *    derived from this software without specific written permission.
  * 4. This software, including modifications and/or derivative works of this
  *    software, must execute solely and exclusively on microcontroller or
  *    microprocessor devices manufactured by or for STMicroelectronics.
  * 5. Redistribution and use of this software other than as permitted under
  *    this license is void and will automatically terminate your rights under
  *    this license.
  *
  * THIS SOFTWARE IS PROVIDED BY STMICROELECTRONICS AND CONTRIBUTORS "AS IS"
  * AND ANY EXPRESS, IMPLIED OR STATUTORY WARRANTIES, INCLUDING, BUT NOT
  * LIMITED TO, THE IMPLIED WARRANTIES OF MERCHANTABILITY, FITNESS FOR A
  * PARTICULAR PURPOSE AND NON-INFRINGEMENT OF THIRD PARTY INTELLECTUAL PROPERTY
  * RIGHTS ARE DISCLAIMED TO THE FULLEST EXTENT PERMITTED BY LAW. IN NO EVENT
  * SHALL STMICROELECTRONICS OR CONTRIBUTORS BE LIABLE FOR ANY DIRECT, INDIRECT,
  * INCIDENTAL, SPECIAL, EXEMPLARY, OR CONSEQUENTIAL DAMAGES (INCLUDING, BUT NOT
  * LIMITED TO, PROCUREMENT OF SUBSTITUTE GOODS OR SERVICES; LOSS OF USE, DATA,
  * OR PROFITS; OR BUSINESS INTERRUPTION) HOWEVER CAUSED AND ON ANY THEORY OF
  * LIABILITY, WHETHER IN CONTRACT, STRICT LIABILITY, OR TORT (INCLUDING
  * NEGLIGENCE OR OTHERWISE) ARISING IN ANY WAY OUT OF THE USE OF THIS SOFTWARE,
  * EVEN IF ADVISED OF THE POSSIBILITY OF SUCH DAMAGE.
  *
  ******************************************************************************
  */

#include "FreeRTOS.h"
#include "task.h"
#include "cmsis_os.h"

/* USER CODE BEGIN Includes */

/***	STM INCLUDES	***/
#include "main.h"
#include "stm32f4xx_hal.h"

/***	COMMUNICATION INCLUDES	***/
#include "hc05.h"
#include "cmd_protocol.h"

/* USER CODE END Includes */

osThreadId defaultTaskHandle;
osSemaphoreId commTxSemaphoreHandle;

void StartDefaultTask(void const * argument);

void MX_FREERTOS_Init(void); /* (MISRA C 2004 rule 8.1) */

/* USER CODE BEGIN FunctionPrototypes */
void ErrorBlink(void);
/* USER CODE END FunctionPrototypes */

/* Hook prototypes */

/* Init FreeRTOS */

void MX_FREERTOS_Init(void) {

  /* Create the semaphores(s) */
  /* definition and creation of commTxSemaphore */
  osSemaphoreDef(commTxSemaphore);
  commTxSemaphoreHandle = osSemaphoreCreate(osSemaphore(commTxSemaphore), 1);

  /* Create the thread(s) */
  /* definition and creation of defaultTask */
  osThreadDef(defaultTask, StartDefaultTask, osPriorityNormal, 0, 128);
  defaultTaskHandle = osThreadCreate(osThread(defaultTask), NULL);

}

/* StartDefaultTask function */
void StartDefaultTask(void const * argument)
{

  /* USER CODE BEGIN StartDefaultTask */
	List<int> list;
	List<float> listF;

	int i = 1;
	float f = 0.32;
	/* Infinite loop */
	for(;;)
	{

		f = i*f/(i+f);
		listF.Append(f);

		list.Append(i++);
		osDelay(100);

	}
  /* USER CODE END StartDefaultTask */
}

/* USER CODE BEGIN Application */

void ErrorBlink( void ){
	while(1){
		HAL_GPIO_TogglePin(LD4_GPIO_Port,LD4_Pin);
		HAL_Delay(300);
	}
}

void HAL_UART_TxCpltCallback(UART_HandleTypeDef *huart){

	if(huart->Instance == BT_GetInstance()){

	}

}

void HAL_UART_RxCpltCallback(UART_HandleTypeDef *huart){

	if(huart->Instance == BT_GetInstance()){

	}

}

/* USER CODE END Application */

/************************ (C) COPYRIGHT STMicroelectronics *****END OF FILE****/
